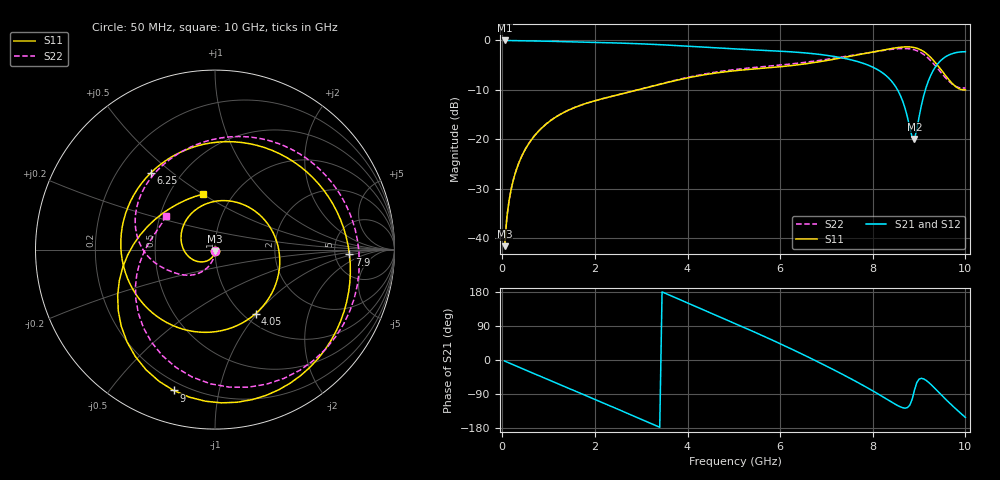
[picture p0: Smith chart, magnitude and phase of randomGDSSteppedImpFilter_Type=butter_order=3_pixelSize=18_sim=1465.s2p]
! freq	dB(S11)	phase(S11)	dB(S12)	phase(S12)
!  dB(S21)	phase(S21)	dB(S22)	phase(S22)
!S-par simulation data
#  GHz  S  DB  R 50
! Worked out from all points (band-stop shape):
!   200 points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, 50 MHz to 10 GHz, reference 50 ohm
!   highest |S21| = 0.00 dB at 50 MHz (marker M1); lowest = -19.9 dB at 8.9 GHz (marker M2)
!   |S21| within 3 dB of the highest: start of sweep to 7.003 GHz; 9.63 GHz to end of sweep
!   lowest |S11| = -41.6 dB at 50 MHz (marker M3), VSWR 1.02, Z = 50 - j0.833 ohm
!   |S11| at or under -10 dB: start of sweep to 2.925 GHz
!   |S22| runs from -41.5 to -1.6 dB; largest |S21 - S12| = 0
!   S11 on the Smith chart (normalised r, x): 50 MHz: 1.00, -0.02; 4.05 GHz: 1.13, -0.98; 6.25 GHz: 0.34, +0.42; 7.9 GHz: 6.88, -0.85; 9 GHz: 0.16, -0.74; 10 GHz: 0.73, +0.50
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0.05  -41.57 -92.7  -0.00 -2.7  -0.00 -2.7  -41.54 -90.7
0.2  -29.70 -104.3  -0.03 -10.6  -0.03 -10.6  -29.67 -96.3
0.5  -21.95 -126.7  -0.06 -26.3  -0.06 -26.3  -21.91 -106.8
1.15  -15.51 -175.1  -0.20 -60.1  -0.20 -60.1  -15.49 -126.5
1.75  -12.91 137.8  -0.34 -91.1  -0.34 -91.1  -12.90 -141.5
2.6  -10.76 65.3  -0.55 -135.3  -0.55 -135.3  -10.74 -157.3
3.4  -8.87 -4.4  -0.86 -177.6  -0.86 -177.6  -8.82 -171.6
4.05  -7.48 -57.7  -1.19 148.0  -1.19 148.0  -7.36 173.4
4.55  -6.67 -96.6  -1.47 121.6  -1.47 121.6  -6.49 159.8
5.05  -6.10 -134.9  -1.72 95.1  -1.72 95.1  -5.85 145.2
5.65  -5.60 178.4  -2.00 62.5  -2.00 62.5  -5.28 126.7
6.25  -5.07 129.7  -2.31 28.7  -2.31 28.7  -4.73 107.1
6.7  -4.52 92.5  -2.66 2.1  -2.66 2.1  -4.23 90.6
7.25  -3.65 48.1  -3.37 -31.7  -3.37 -31.7  -3.47 66.8
7.9  -2.50 -2.1  -4.99 -74.4  -4.99 -74.4  -2.49 29.9
8.35  -1.71 -37.9  -7.66 -106.8  -7.66 -106.8  -1.86 -5.0
8.65  -1.33 -65.6  -12.37 -126.1  -12.37 -126.1  -1.62 -36.0
8.9  -1.45 -93.6  -19.90 -79.7  -19.90 -79.7  -1.90 -69.0
9  -1.74 -106.4  -15.46 -50.5  -15.46 -50.5  -2.27 -84.1
9.25  -3.42 -140.7  -7.08 -63.9  -7.08 -63.9  -4.07 -124.4
9.55  -6.84 176.4  -3.44 -100.8  -3.44 -100.8  -7.33 -168.9
10  -9.99 102.5  -2.27 -151.4  -2.27 -151.4  -9.58 145.6
